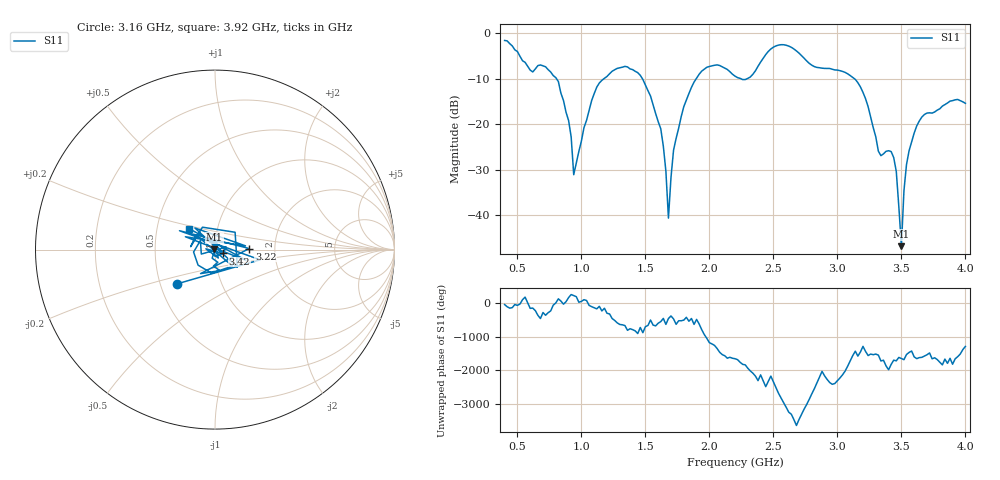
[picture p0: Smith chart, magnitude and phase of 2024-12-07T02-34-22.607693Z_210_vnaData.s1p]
!Created with skrf (http://scikit-rf.org).
# Hz S RI R 50.0
!freq ReS11 ImS11
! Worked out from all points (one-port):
!   181 points, 400 MHz to 4 GHz, reference 50 ohm
!   lowest |S11| = -46.8 dB at 3.5 GHz (marker M1), VSWR 1.01, Z = 49.6 + j0.233 ohm
!   |S11| at or under -10 dB: 806 MHz to 1.175 GHz (368.8 MHz wide, 37.2 % of centre); 1.477 GHz to 1.897 GHz (419.6 MHz wide, 24.9 % of centre); 3.134 GHz to end of sweep (the widest 3 of 4)
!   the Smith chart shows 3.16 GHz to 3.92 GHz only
!   S11 on the Smith chart (normalised r, x): 3.16 GHz: 0.61, -0.25; 3.22 GHz: 1.47, +0.02; 3.42 GHz: 1.09, -0.05; 3.92 GHz: 0.73, +0.18
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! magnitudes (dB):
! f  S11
! 400 MHz  -1.6
! 620 MHz  -8.5
! 720 MHz  -7.3
! 860 MHz  -14.8
! 920 MHz  -22.8
! 940 MHz  -31.1
! 1.12 GHz  -11.8
! 1.3 GHz  -7.6
! 1.54 GHz  -13.8
! 1.64 GHz  -24.8
! 1.68 GHz  -40.7
! 1.72 GHz  -25.7
! 1.76 GHz  -20.9
! 1.94 GHz  -8.3
! 2.2 GHz  -9.4
! 2.66 GHz  -3.4
! 3.1 GHz  -9.3
! 3.16 GHz  -10.9
! 3.22 GHz  -14.4
! 3.32 GHz  -25.9
! 3.42 GHz  -26.0
! 3.46 GHz  -30.4
! 3.5 GHz  -46.8
! 3.52 GHz  -34.6
! 3.56 GHz  -25.8
! 3.66 GHz  -18.4
! 3.92 GHz  -14.6
! 4 GHz  -15.4
